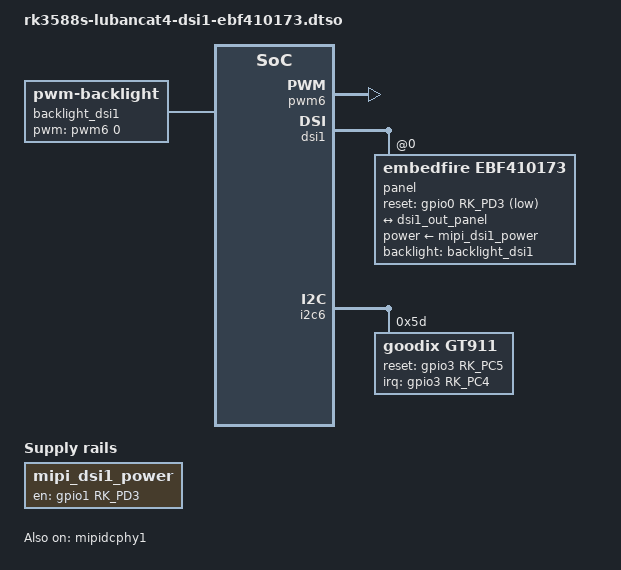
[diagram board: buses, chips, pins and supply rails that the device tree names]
/* SPDX-License-Identifier: (GPL-2.0+ OR MIT) */
/*
 * LubanCat-4: DSI1 on VP3 + EmbedFire EBF410173 7 inch 1024x600 panel + GT911 touch.
 *
 * Port of the vendor overlay
 *   rk3588s-lubancat-4-dsi1-vp3-1024x600-7inch-ebf410173-overlay.dts
 * from kernel-lbc-develop-6.1/arch/arm64/boot/dts/rockchip/overlay/.
 *
 * Why this exists alongside the dsi0 overlay and which one to actually enable is a question for
 * the schematic or for plugging the cable in, but the evidence points here: the vendor boot log
 * of this very board loaded
 *     /dtb/overlay/rk3588s-lubancat-4-v1-dsi1-1024x600-overlay.dtbo
 * so the vendor image drives the panel through DSI1. Enable exactly one of dsi0/dsi1; a single
 * FPC cable cannot be in two hosts at once.
 *
 * The panel is driven by the panel-embedfire-ebf410173 driver this kernel package adds; the
 * vendor needed no driver because its panel-simple read the power-on sequence out of the device
 * tree, which mainline cannot do. The vendor's dsi0 and dsi1 files spell dsi,flags the same way
 * (VIDEO|VIDEO_BURST|LPM|NO_EOT_PACKET), so the driver owns that one fact instead of this file
 * copying it. See OVERLAYS.md 3.3b.
 *
 * Pins (vendor dsi1 file; the V1 revision moves only the two touch lines, see the -v1 file):
 *   panel power rail gpio1 RK_PD3, backlight pwm6 / pwm6m0_pins, panel reset gpio0 RK_PD3
 *   (that reset pin is identical in the vendor's V1 and non-V1 dsi1 files), touch on i2c6 /
 *   i2c6m3_xfer at 0x5d with IRQ gpio3 RK_PC4 and reset gpio3 RK_PC5.
 */

/dts-v1/;
/plugin/;

#include <dt-bindings/gpio/gpio.h>
#include <dt-bindings/interrupt-controller/irq.h>
#include <dt-bindings/pinctrl/rockchip.h>
#include <dt-bindings/soc/rockchip,vop2.h>

/*
 * Board level parts first: the panel node below points at both of these, and dtc has to
 * have seen a label before a phandle to it can become a symbol of this overlay.
 *
 * The power rail is a GPIO regulator on gpio1 RK_PD3, on in the vendor board dts with
 * regulator-boot-on / regulator-always-on, so the panel rail does not depend on the
 * panel driver probing.
 */
/ {
	/*
	 * These two are NEW nodes, not edits of existing ones, so they have to be wrapped in a
	 * fragment that names the root by path. Written plainly at the top level of a plugin, dtc
	 * keeps them as children of the overlay blob's own "/" -- check with
	 *     dtc -I dtb -O dts <something>.dtbo
	 * -- and an overlay applier only applies "__overlay__" subtrees, so the nodes are dropped
	 * silently while panel@0 keeps a backlight/power-supply phandle that points at nothing.
	 * That is not hypothetical: on the .dtbo these files replace, "pwm-backlight" appeared zero
	 * times in the tree produced by fdtoverlay, and the check that was supposed to catch this
	 * only counted how many lines the overlay patched (the dangling phandle is one of them).
	 *
	 * The applier on this board is U-Boot's libfdt: lib/libfdt/fdt_overlay.c is nothing but an
	 * #include of scripts/dtc/libfdt/fdt_overlay.c, that file reads "target-path" and resolves
	 * it with fdt_path_offset, and the u-boot binary this package builds contains the literal
	 * string "target-path" -- so targeting "/" is supported by the code that actually runs.
	 * rk3588s-lubancat4-xl9535.dtso already used this form for the same reason.
	 *
	 * fragment@100 is numbered by hand on purpose: the &label{} fragments in this file are
	 * numbered implicitly by dtc starting at 0, and a clash would be a confusing error.
	 */
	fragment@100 {
		target-path = "/";

		__overlay__ {
			mipi_dsi1_power: mipi-dsi1-power-regulator {
				compatible = "regulator-fixed";
				regulator-name = "mipi_dsi1_power";
				gpio = <&gpio1 RK_PD3 GPIO_ACTIVE_HIGH>;
				enable-active-high;
				regulator-boot-on;
				regulator-always-on;
			};

			/*
			 * 40 kHz PWM (period 25000 ns) and the vendor's 256 entry brightness ramp, taken
			 * verbatim from rk3588s-lubancat-4.dts rather than written from scratch.
			 */
			backlight_dsi1: backlight-dsi1 {
				compatible = "pwm-backlight";
				pwms = <&pwm6 0 25000 0>;
				brightness-levels = <0 20 20 21 21 22 22 23 23 24 24 25 25 26 26 27 27 28 28 29 29 30 30 31 31 32 32 33 33 34 34 35 35 36 36 37 37 38 38 39 40 41 42 43 44 45 46 47 48 49 50 51 52 53 54 55 56 57 58 59 60 61 62 63 64 65 66 67 68 69 70 71 72 73 74 75 76 77 78 79 80 81 82 83 84 85 86 87 88 89 90 91 92 93 94 95 96 97 98 99 100 101 102 103 104 105 106 107 108 109 110 111 112 113 114 115 116 117 118 119 120 121 122 123 124 125 126 127 128 129 130 131 132 133 134 135 136 137 138 139 140 141 142 143 144 145 146 147 148 149 150 151 152 153 154 155 156 157 158 159 160 161 162 163 164 165 166 167 168 169 170 171 172 173 174 175 176 177 178 179 180 181 182 183 184 185 186 187 188 189 190 191 192 193 194 195 196 197 198 199 200 201 202 203 204 205 206 207 208 209 210 211 212 213 214 215 216 217 218 219 220 221 222 223 224 225 226 227 228 229 230 231 232 233 234 235 236 237 238 239 240 241 242 243 244 245 246 247 248 249 250 251 252 253 254 255>;
				default-brightness-level = <200>;
			};
		};
	};
};

/*
 * The DSI PHY is disabled in rk3588-base.dtsi and no rk3588 board enables it for DSI1
 * yet, so without this fragment nothing on the lanes comes up at all.
 */
&mipidcphy1 {
	status = "okay";
};

&pwm6 {
	status = "okay";
	pinctrl-names = "default";
	pinctrl-0 = <&pwm6m0_pins>;
};

&dsi1 {
	status = "okay";
	#address-cells = <1>;
	#size-cells = <0>;

	panel@0 {
		compatible = "embedfire,ebf410173";
		reg = <0>;
		backlight = <&backlight_dsi1>;
		power-supply = <&mipi_dsi1_power>;
		reset-gpios = <&gpio0 RK_PD3 GPIO_ACTIVE_LOW>;

		port {
			mipi_dsi1_panel_in: endpoint {
				remote-endpoint = <&dsi1_out_panel>;
			};
		};
	};
};

/*
 * Video path. The SoC tree leaves dsi1_in / dsi1_out and the VP outputs unconnected,
 * because which video plane feeds which output is a board choice; the shape is what
 * mainline boards such as rk3588s-gameforce-ace.dts use, with VP3 as the vendor picked
 * (its overlay file name says dsi1-vp2).
 */
&dsi1_in {
	dsi1_in_vp3: endpoint {
		remote-endpoint = <&vp3_out_dsi1>;
	};
};

&dsi1_out {
	dsi1_out_panel: endpoint {
		remote-endpoint = <&mipi_dsi1_panel_in>;
	};
};

&vp3 {
	#address-cells = <1>;
	#size-cells = <0>;

	vp3_out_dsi1: endpoint@ROCKCHIP_VOP2_EP_MIPI1 {
		reg = <ROCKCHIP_VOP2_EP_MIPI1>;
		remote-endpoint = <&dsi1_in_vp3>;
	};
};

&i2c6 {
	status = "okay";
	#address-cells = <1>;
	#size-cells = <0>;
	pinctrl-names = "default";
	pinctrl-0 = <&i2c6m3_xfer>;

	gt911@5d {
		compatible = "goodix,gt911";
		reg = <0x5d>;
		interrupt-parent = <&gpio3>;
		interrupts = <RK_PC4 IRQ_TYPE_LEVEL_LOW>;
		/* Goodix drives logical 0 then 1; keep physical levels uninverted. */
		reset-gpios = <&gpio3 RK_PC5 GPIO_ACTIVE_HIGH>;
		irq-gpios = <&gpio3 RK_PC4 GPIO_ACTIVE_HIGH>;
		/* The vendor overlay wrote these as "= <1>"; the binding declares them
		 * boolean, so the flag form is the one dtc and the schema agree on. */
		touchscreen-inverted-x;
		touchscreen-inverted-y;
	};
};
